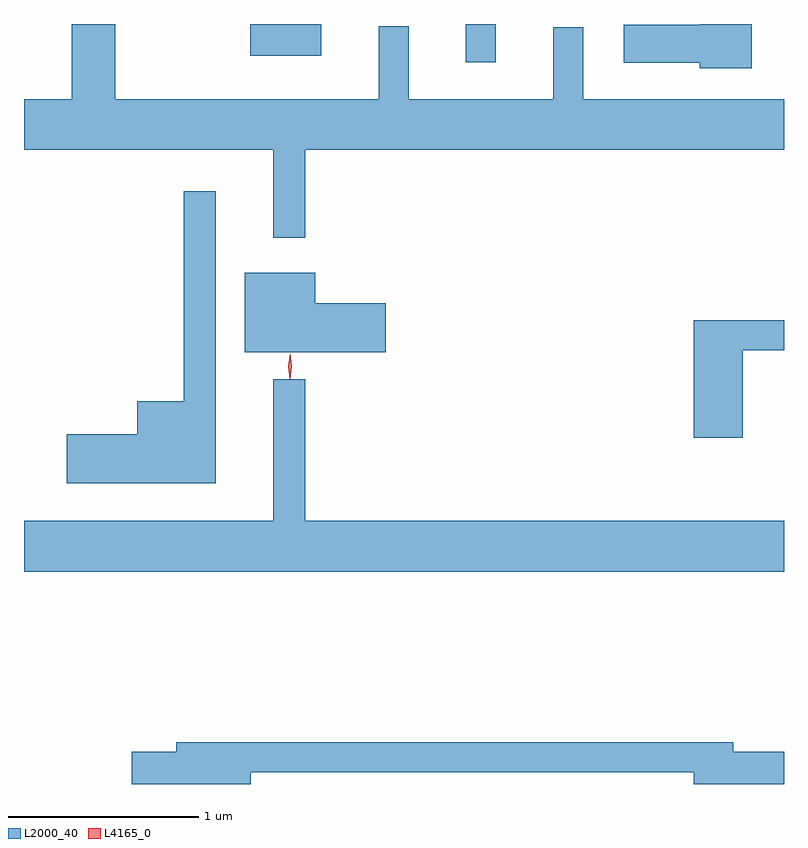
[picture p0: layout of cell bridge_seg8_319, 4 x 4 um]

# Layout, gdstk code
import gdstk
lib = gdstk.Library(unit=1e-6, precision=1e-09)
def R(c, l, rs):  # rectangles x0, y0, x1, y1
    for r in rs: c.add(gdstk.rectangle(r[:2], r[2:], *l))
def P(c, l, *ps):  # polygons
    for p in ps: c.add(gdstk.Polygon(p, *l))
L2000_40 = (2000, 40)
L4165_0 = (4165, 0)

bridge_seg8_319 = lib.new_cell('bridge_seg8_319')
R(bridge_seg8_319, L2000_40, [(839.366,1903.478,839.524,1903.679), (838.231,1903.511,838.604,1903.679)])
P(bridge_seg8_319, L2000_40, [(838.519,1903.016),(841.04,1903.016),(841.04,1903.284),(839.984,1903.284),(839.984,1903.663),(839.826,1903.663),(839.826,1903.284),(839.064,1903.284),(839.064,1903.668),(838.906,1903.668),(838.906,1903.284),(837.519,1903.284),(837.519,1903.679),(837.291,1903.679),(837.291,1903.284),(837.04,1903.284),(837.04,1903.016),(838.351,1903.016),(838.351,1902.553),(838.519,1902.553)],
  [(840.869,1903.679),(840.596,1903.679),(840.596,1903.674),(840.196,1903.674),(840.196,1903.476),(840.596,1903.476),(840.596,1903.446),(840.869,1903.446)],
  [(838.049,1902.798),(837.881,1902.798),(837.881,1901.694),(837.636,1901.694),(837.636,1901.519),(837.266,1901.519),(837.266,1901.261),(838.049,1901.261)],
  [(838.944,1902.209),(838.574,1902.209),(838.574,1902.369),(838.201,1902.369),(838.201,1901.951),(838.944,1901.951)],
  [(840.824,1901.961),(841.04,1901.961),(841.04,1902.119),(840.566,1902.119),(840.566,1901.501),(840.824,1901.501)],
  [(841.04,1901.064),(838.519,1901.064),(838.519,1901.808),(838.351,1901.808),(838.351,1901.064),(837.04,1901.064),(837.04,1900.796),(841.04,1900.796)],
  [(838.234,1899.741),(840.566,1899.741),(840.566,1899.679),(841.04,1899.679),(841.04,1899.849),(840.774,1899.849),(840.774,1899.899),(837.841,1899.899),(837.841,1899.849),(837.606,1899.849),(837.606,1899.679),(838.234,1899.679)])
P(bridge_seg8_319, L4165_0, [(838.439,1901.81),(838.43,1901.878),(838.441,1901.945),(838.441,1901.946),(838.442,1901.945),(838.45,1901.878),(838.44,1901.81),(838.44,1901.81)],
  [(838.439,1901.813),(838.431,1901.876),(838.441,1901.939),(838.441,1901.94),(838.442,1901.939),(838.45,1901.876),(838.44,1901.813),(838.44,1901.813)])

lib.write_gds('bridge_seg8_319.gds')
